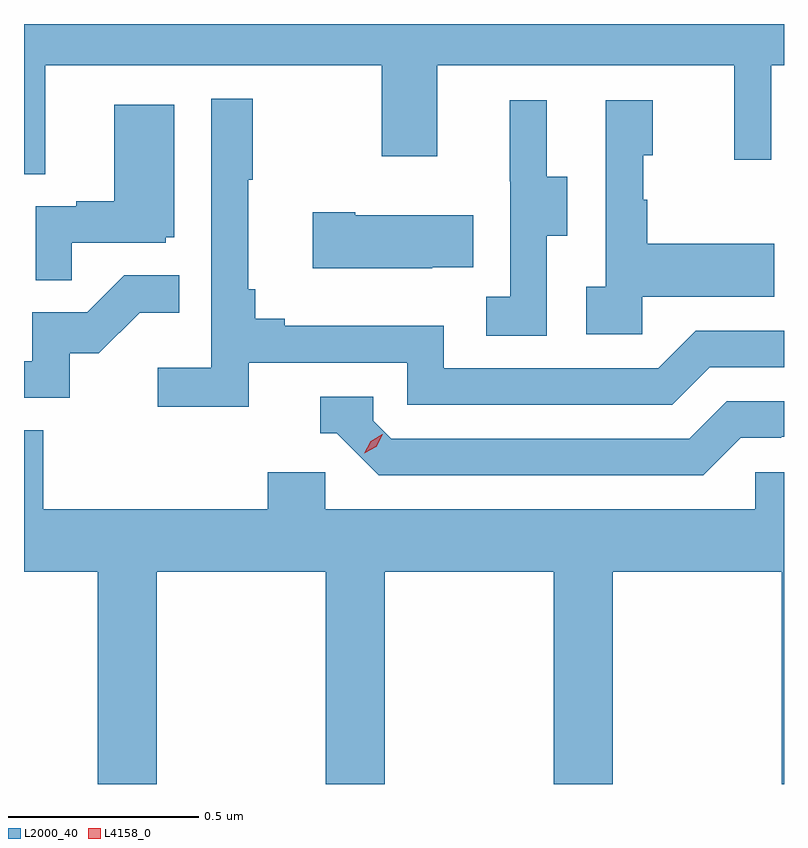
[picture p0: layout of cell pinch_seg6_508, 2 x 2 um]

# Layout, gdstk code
import gdstk
lib = gdstk.Library(unit=1e-6, precision=1e-09)
def P(c, l, *ps):  # polygons
    for p in ps: c.add(gdstk.Polygon(p, *l))
L2000_40 = (2000, 40)
L4158_0 = (4158, 0)

pinch_seg6_508 = lib.new_cell('pinch_seg6_508')
P(pinch_seg6_508, L2000_40, [(868.681,934.016),(869.566,934.016),(869.566,933.777),(869.713,933.777),(869.713,934.016),(870.494,934.016),(870.494,933.768),(870.591,933.768),(870.591,934.016),(870.625,934.016),(870.625,934.125),(868.625,934.125),(868.625,933.73),(868.681,933.73)],
  [(869.216,933.234),(869.634,933.234),(869.634,933.123),(870.331,933.123),(870.43,933.222),(870.625,933.222),(870.625,933.318),(870.393,933.318),(870.294,933.219),(869.73,933.219),(869.73,933.331),(869.311,933.331),(869.311,933.35),(869.234,933.35),(869.234,933.427),(869.215,933.427),(869.215,933.715),(869.227,933.715),(869.227,933.928),(869.118,933.928),(869.118,933.22),(868.977,933.22),(868.977,933.118),(869.216,933.118)],
  [(870.252,933.407),(870.599,933.407),(870.599,933.547),(870.265,933.547),(870.265,933.662),(870.255,933.662),(870.255,933.78),(870.28,933.78),(870.28,933.925),(870.156,933.925),(870.156,933.434),(870.105,933.434),(870.105,933.309),(870.252,933.309)],
  [(870,933.568),(870.055,933.568),(870.055,933.723),(870.001,933.723),(870.001,933.925),(869.903,933.925),(869.903,933.711),(869.904,933.711),(869.904,933.407),(869.841,933.407),(869.841,933.304),(870,933.304)],
  [(868.751,933.549),(868.998,933.549),(868.998,933.564),(869.02,933.564),(869.02,933.913),(868.862,933.913),(868.862,933.658),(868.763,933.658),(868.763,933.645),(868.656,933.645),(868.656,933.451),(868.751,933.451)],
  [(869.699,933.485),(869.807,933.485),(869.807,933.622),(869.497,933.622),(869.497,933.63),(869.385,933.63),(869.385,933.482),(869.699,933.482)],
  [(868.746,933.258),(868.822,933.258),(868.929,933.365),(869.033,933.365),(869.033,933.464),(868.889,933.464),(868.791,933.366),(868.647,933.366),(868.647,933.237),(868.625,933.237),(868.625,933.141),(868.746,933.141)],
  [(870.511,933.036),(870.618,933.036),(870.618,933.039),(870.625,933.039),(870.625,933.132),(870.474,933.132),(870.375,933.033),(869.592,933.033),(869.544,933.081),(869.544,933.144),(869.405,933.144),(869.405,933.048),(869.448,933.048),(869.559,932.937),(870.412,932.937)],
  [(869.418,932.946),(869.267,932.946),(869.267,932.848),(868.676,932.848),(868.676,933.056),(868.625,933.056),(868.625,932.684),(868.819,932.684),(868.819,932.125),(868.974,932.125),(868.974,932.684),(869.419,932.684),(869.419,932.125),(869.574,932.125),(869.574,932.684),(870.019,932.684),(870.019,932.125),(870.174,932.125),(870.174,932.684),(870.619,932.684),(870.619,932.125),(870.625,932.125),(870.625,932.946),(870.549,932.946),(870.549,932.848),(869.418,932.848)])
P(pinch_seg6_508, L4158_0, [(869.521,932.995),(869.521,932.995),(869.537,933.027),(869.568,933.046),(869.569,933.046),(869.569,933.046),(869.552,933.013),(869.521,932.995)])

lib.write_gds('pinch_seg6_508.gds')
